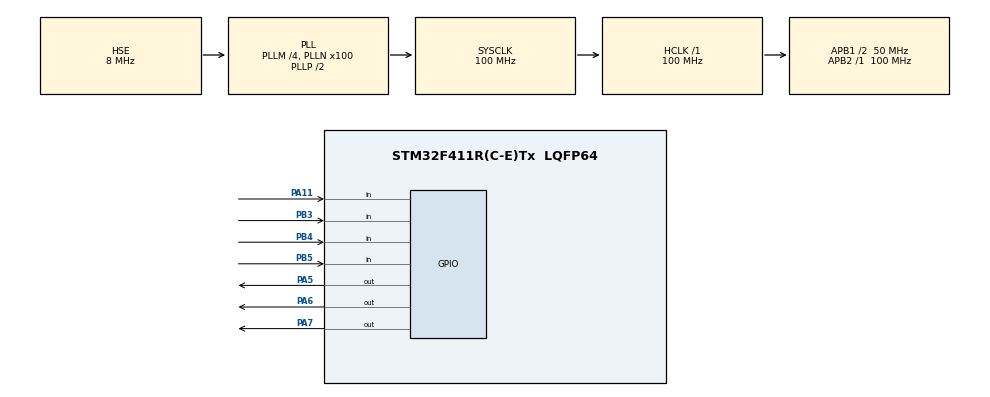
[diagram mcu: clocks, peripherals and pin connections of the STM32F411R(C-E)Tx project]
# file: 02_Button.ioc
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Mcu.Family=STM32F4
Mcu.Name=STM32F411R(C-E)Tx
Mcu.Package=LQFP64
NVIC.PriorityGroup=NVIC_PRIORITYGROUP_4
PA11.Signal=GPIO_Input
PA5.Signal=GPIO_Output
PA6.Signal=GPIO_Output
PA7.Signal=GPIO_Output
PB3.Signal=GPIO_Input
PB4.Signal=GPIO_Input
PB5.Signal=GPIO_Input
PH0\ -\ OSC_IN.Mode=HSE-External-Oscillator
PH0\ -\ OSC_IN.Signal=RCC_OSC_IN
PH1\ -\ OSC_OUT.Mode=HSE-External-Oscillator
PH1\ -\ OSC_OUT.Signal=RCC_OSC_OUT
ProjectManager.HeapSize=0x200
ProjectManager.StackSize=0x400
ProjectManager.TargetToolchain=STM32CubeIDE
RCC.48MHZClocksFreq_Value=50000000
RCC.AHBFreq_Value=100000000
RCC.APB1CLKDivider=RCC_HCLK_DIV2
RCC.APB1Freq_Value=50000000
RCC.APB1TimFreq_Value=100000000
RCC.APB2Freq_Value=100000000
RCC.APB2TimFreq_Value=100000000
RCC.CortexFreq_Value=100000000
RCC.HCLKFreq_Value=100000000
RCC.HSE_VALUE=8000000
RCC.HSI_VALUE=16000000
RCC.LSE_VALUE=32768
RCC.PLLM=4
RCC.PLLN=100
RCC.PLLSourceVirtual=RCC_PLLSOURCE_HSE
RCC.SYSCLKFreq_VALUE=100000000
RCC.SYSCLKSource=RCC_SYSCLKSOURCE_PLLCLK
RCC.VCOOutputFreq_Value=200000000
board=custom

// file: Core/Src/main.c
/* USER CODE BEGIN Header */
/* USER CODE END Header */
#include "main.h"
#include "gpio.h"

/* USER CODE BEGIN PV */
uint8_t btn1, btn2, btn3;
/* USER CODE END PV */

void SystemClock_Config(void);

int main(void)
{

  /* MCU Configuration--------------------------------------------------------*/

  /* Reset of all peripherals, Initializes the Flash interface and the Systick. */
  HAL_Init();

  /* Configure the system clock */
  SystemClock_Config();

  /* Initialize all configured peripherals */
  MX_GPIO_Init();

  /* Infinite loop */
  /* USER CODE BEGIN WHILE */
  while (1)
  	{
  		btn1 = HAL_GPIO_ReadPin(GPIOB, GPIO_PIN_3);
  		btn2 = HAL_GPIO_ReadPin(GPIOB, GPIO_PIN_4);
  		btn3 = HAL_GPIO_ReadPin(GPIOB, GPIO_PIN_5);

  		if (!btn1)
  		{
  			HAL_GPIO_WritePin(GPIOA, GPIO_PIN_5, 1);
  		}
  		else
  		{
  			HAL_GPIO_WritePin(GPIOA, GPIO_PIN_5, 0);
  		}

  		if (!btn2)
  		{
  			HAL_GPIO_WritePin(GPIOA, GPIO_PIN_6, 1);
  		}
  		else
  		{
  			HAL_GPIO_WritePin(GPIOA, GPIO_PIN_6, 0);
  		}
  		if (!btn3)
  		{
  			HAL_GPIO_WritePin(GPIOA, GPIO_PIN_7, 1);
  		}
  		else
  		{
  			HAL_GPIO_WritePin(GPIOA, GPIO_PIN_7, 0);
  		}
    /* USER CODE END WHILE */

}

void SystemClock_Config(void)
{
  RCC_OscInitTypeDef RCC_OscInitStruct = {0};
  RCC_ClkInitTypeDef RCC_ClkInitStruct = {0};

  /** Configure the main internal regulator output voltage
  */
  __HAL_RCC_PWR_CLK_ENABLE();
  __HAL_PWR_VOLTAGESCALING_CONFIG(PWR_REGULATOR_VOLTAGE_SCALE1);

  /** Initializes the RCC Oscillators according to the specified parameters
  * in the RCC_OscInitTypeDef structure.
  */
  RCC_OscInitStruct.OscillatorType = RCC_OSCILLATORTYPE_HSE;
  RCC_OscInitStruct.HSEState = RCC_HSE_ON;
  RCC_OscInitStruct.PLL.PLLState = RCC_PLL_ON;
  RCC_OscInitStruct.PLL.PLLSource = RCC_PLLSOURCE_HSE;
  RCC_OscInitStruct.PLL.PLLM = 4;
  RCC_OscInitStruct.PLL.PLLN = 100;
  RCC_OscInitStruct.PLL.PLLP = RCC_PLLP_DIV2;
  RCC_OscInitStruct.PLL.PLLQ = 4;
  if (HAL_RCC_OscConfig(&RCC_OscInitStruct) != HAL_OK)
  {
    Error_Handler();
  }

  /** Initializes the CPU, AHB and APB buses clocks
  */
  RCC_ClkInitStruct.ClockType = RCC_CLOCKTYPE_HCLK|RCC_CLOCKTYPE_SYSCLK
                              |RCC_CLOCKTYPE_PCLK1|RCC_CLOCKTYPE_PCLK2;
  RCC_ClkInitStruct.SYSCLKSource = RCC_SYSCLKSOURCE_PLLCLK;
  RCC_ClkInitStruct.AHBCLKDivider = RCC_SYSCLK_DIV1;
  RCC_ClkInitStruct.APB1CLKDivider = RCC_HCLK_DIV2;
  RCC_ClkInitStruct.APB2CLKDivider = RCC_HCLK_DIV1;

  if (HAL_RCC_ClockConfig(&RCC_ClkInitStruct, FLASH_LATENCY_3) != HAL_OK)
  {
    Error_Handler();
  }
}

void Error_Handler(void)
{
}
